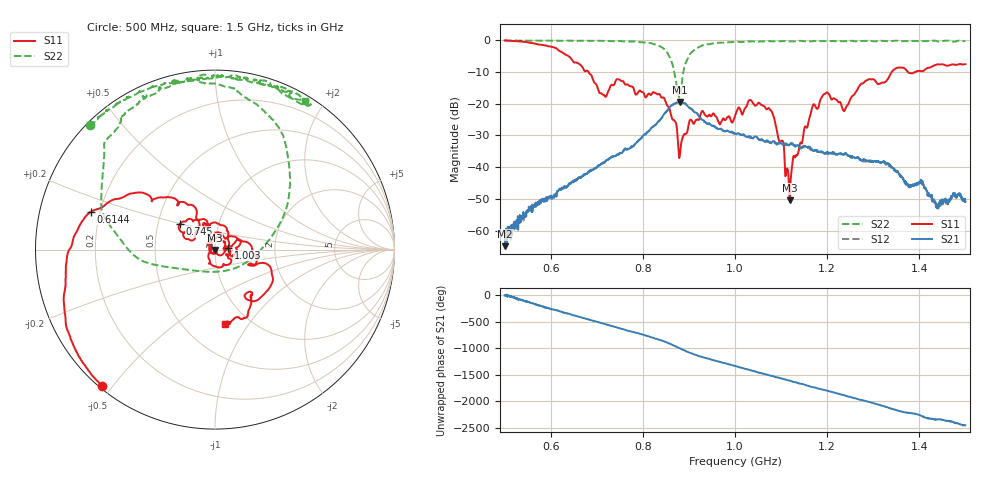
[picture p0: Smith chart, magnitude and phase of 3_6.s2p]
!Agilent Technologies,E8364B,US42250235,A.06.04.32
!Agilent E8364B: A.06.04.32
!Date: Friday, January 15, 2021 16:19:19
!Correction: S11(Full 2 Port(1,2)) S21(Full 2 Port(1,2)) S12(Full 2 Port(1,2)) S22(Full 2 Port(1,2))
!S2P File: Measurements: S11, S21, S12, S22:
# Hz S  dB  R 50
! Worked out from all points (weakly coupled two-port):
!   1601 points, 500 MHz to 1.5 GHz, reference 50 ohm
!   highest |S21| = -19.47 dB at 880.6 MHz (marker M1); lowest = -64.9 dB at 501.2 MHz (marker M2)
!   lowest |S11| = -50.4 dB at 1.119 GHz (marker M3), VSWR 1.01, Z = 49.8 - j0.249 ohm
!   |S11| at or under -10 dB: 682 MHz to 1.34 GHz (658.2 MHz wide, 65.1 % of centre); 1.375 GHz to 1.392 GHz (17.39 MHz wide, 1.26 % of centre)
!   |S22| runs from -18.2 to -0.1 dB; largest |S21 - S12| = 0.0075
!   S11 on the Smith chart (normalised r, x): 500 MHz: 0.01, -0.47; 614.4 MHz: 0.17, +0.15; 745 MHz: 0.65, +0.20; 1.003 GHz: 1.16, +0.03; 1.5 GHz: 0.78, -0.78
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5e8  -0.12 -129.6  -60.22 -7.1  -64.16 -2.5  -0.16 135.2
5.0125e8  -0.13 -130.0  -64.87 -12.4  -63.07 5.4  -0.16 135.1
5.6e8  -0.96 -159.8  -54.07 -152.3  -51.78 -161.5  -0.16 127.9
6.14375e8  -2.84 162.9  -47.42 75.7  -47.83 72.0  -0.18 122.6
6.66875e8  -8.12 131.8  -43.00 -61.4  -42.99 -62.9  -0.21 115.0
7.1625e8  -17.37 145.6  -38.46 179.2  -38.44 175.7  -0.27 110.4
7.45e8  -12.29 143.6  -36.01 105.9  -36.04 102.7  -0.28 102.8
8.3375e8  -17.03 75.1  -25.56 -114.8  -25.65 -118.4  -1.73 70.5
8.60625e8  -23.19 6.6  -20.74 157.6  -20.94 154.6  -6.15 34.0
8.80625e8  -35.97 -58.0  -19.47 77.2  -19.58 73.8  -17.84 -104.9
9.09375e8  -26.28 123.5  -22.25 -29.2  -22.27 -33.2  -3.38 159.0
1e9  -23.87 16.1  -29.49 105.6  -29.45 101.3  -0.51 114.3
1.003125e9  -22.59 8.9  -29.54 99.6  -29.58 94.2  -0.50 114.9
1.076875e9  -22.03 -111.3  -32.41 -74.7  -32.09 -79.3  -0.35 103.4
1.11875e9  -50.43 -123.9  -32.86 -168.5  -32.71 -175.0  -0.38 98.6
1.166875e9  -21.51 96.3  -34.39 69.6  -34.63 66.9  -0.34 89.5
1.19875e9  -16.50 17.8  -35.34 5.2  -35.72 -3.6  -0.31 88.4
1.2375e9  -22.25 5.1  -35.84 -85.9  -36.06 -92.5  -0.35 82.7
1.278125e9  -13.58 -3.9  -37.55 177.6  -38.20 171.1  -0.26 79.3
1.33375e9  -11.75 -17.1  -38.97 37.3  -39.60 33.1  -0.39 74.7
1.438125e9  -7.67 -64.0  -52.89 -179.3  -52.46 -177.6  -0.33 68.6
1.5e9  -7.57 -82.1  -50.80 67.6  -51.27 67.8  -0.25 58.8
